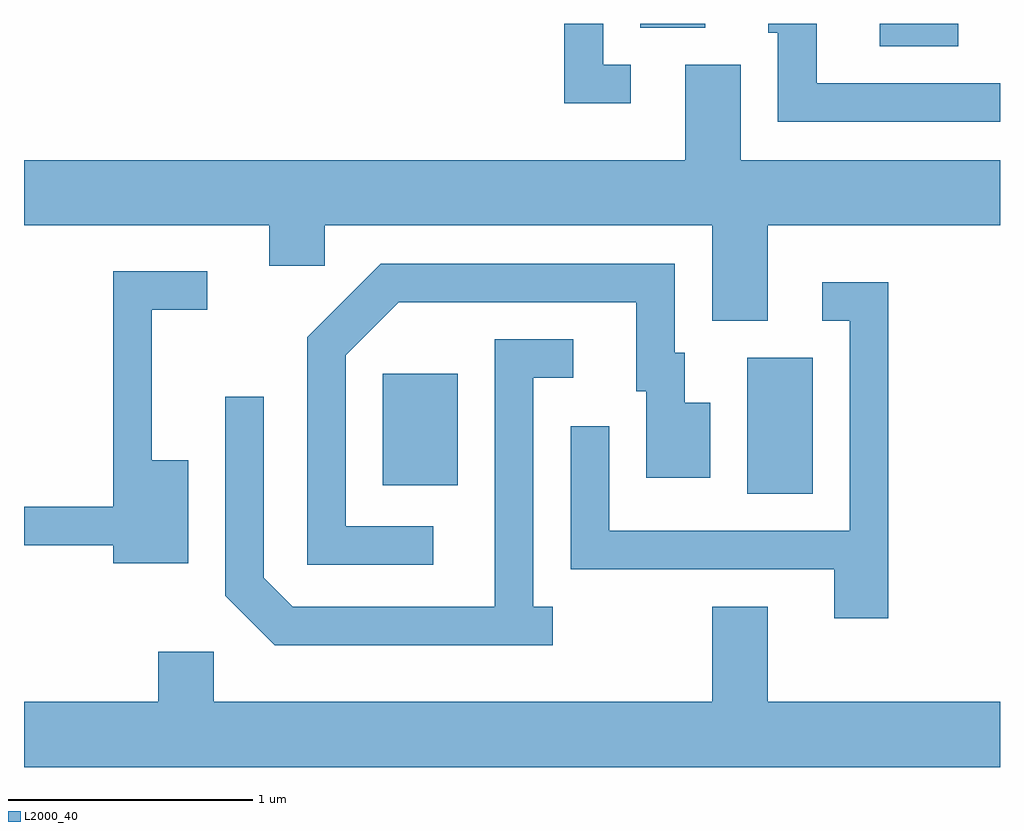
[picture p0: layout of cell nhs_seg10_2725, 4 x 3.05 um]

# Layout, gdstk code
import gdstk
lib = gdstk.Library(unit=1e-6, precision=1e-09)
def R(c, l, rs):  # rectangles x0, y0, x1, y1
    for r in rs: c.add(gdstk.rectangle(r[:2], r[2:], *l))
def P(c, l, *ps):  # polygons
    for p in ps: c.add(gdstk.Polygon(p, *l))
L2000_40 = (2000, 40)

nhs_seg10_2725 = lib.new_cell('nhs_seg10_2725')
R(nhs_seg10_2725, L2000_40, [(268.576,2110.596,268.844,2111.154), (267.081,2110.631,267.389,2111.089), (269.118,2112.431,269.439,2112.522), (268.136,2112.506,268.404,2112.522)])
P(nhs_seg10_2725, L2000_40, [(268.098,2112.354),(267.984,2112.354),(267.984,2112.522),(267.826,2112.522),(267.826,2112.196),(268.098,2112.196)],
  [(269.611,2112.279),(268.859,2112.279),(268.859,2112.522),(268.661,2112.522),(268.661,2112.486),(268.701,2112.486),(268.701,2112.121),(269.611,2112.121)],
  [(268.659,2111.696),(269.611,2111.696),(269.611,2111.964),(268.549,2111.964),(268.549,2112.354),(268.321,2112.354),(268.321,2111.964),(265.611,2111.964),(265.611,2111.696),(266.616,2111.696),(266.616,2111.531),(266.844,2111.531),(266.844,2111.696),(268.431,2111.696),(268.431,2111.306),(268.659,2111.306)],
  [(267.288,2110.464),(266.929,2110.464),(266.929,2111.164),(267.147,2111.381),(268.121,2111.381),(268.121,2111.016),(268.161,2111.016),(268.161,2110.661),(268.424,2110.661),(268.424,2110.969),(268.319,2110.969),(268.319,2111.174),(268.279,2111.174),(268.279,2111.539),(267.074,2111.539),(266.771,2111.237),(266.771,2110.306),(267.288,2110.306)],
  [(266.284,2110.734),(266.134,2110.734),(266.134,2111.351),(266.363,2111.351),(266.363,2111.509),(265.976,2111.509),(265.976,2110.544),(265.611,2110.544),(265.611,2110.386),(265.976,2110.386),(265.976,2110.311),(266.284,2110.311)],
  [(269.154,2111.464),(268.883,2111.464),(268.883,2111.306),(268.996,2111.306),(268.996,2110.444),(268.009,2110.444),(268.009,2110.873),(267.851,2110.873),(267.851,2110.286),(268.931,2110.286),(268.931,2110.086),(269.154,2110.086)],
  [(267.778,2110.134),(267.699,2110.134),(267.699,2111.071),(267.863,2111.071),(267.863,2111.229),(267.541,2111.229),(267.541,2110.134),(266.712,2110.134),(266.594,2110.252),(266.594,2110.993),(266.436,2110.993),(266.436,2110.179),(266.639,2109.976),(267.778,2109.976)],
  [(269.611,2109.744),(268.659,2109.744),(268.659,2110.134),(268.431,2110.134),(268.431,2109.744),(266.389,2109.744),(266.389,2109.949),(266.161,2109.949),(266.161,2109.744),(265.611,2109.744),(265.611,2109.476),(269.611,2109.476)])

lib.write_gds('nhs_seg10_2725.gds')
